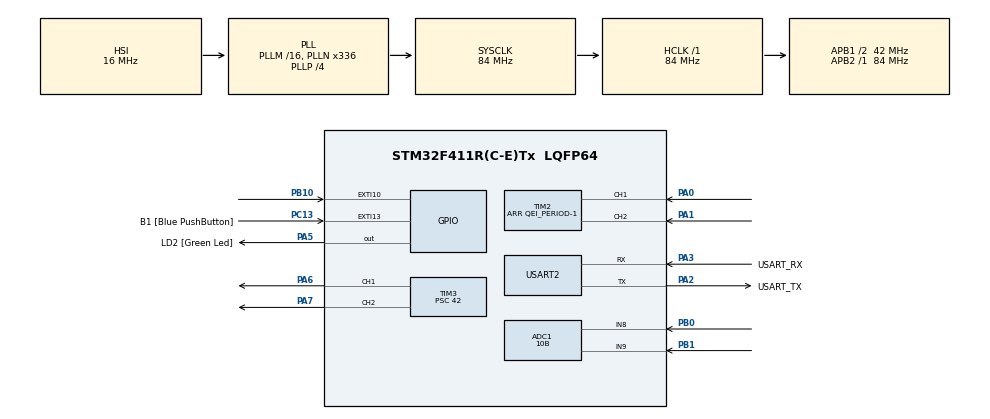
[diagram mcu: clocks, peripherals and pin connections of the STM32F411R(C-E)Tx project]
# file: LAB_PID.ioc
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ADC1.Channel-1\#ChannelRegularConversion=ADC_CHANNEL_8
ADC1.Channel-2\#ChannelRegularConversion=ADC_CHANNEL_9
ADC1.ContinuousConvMode=ENABLE
ADC1.DMAContinuousRequests=ENABLE
ADC1.DiscontinuousConvMode=DISABLE
ADC1.NbrOfConversion=2
ADC1.NbrOfConversionFlag=1
ADC1.Rank-1\#ChannelRegularConversion=1
ADC1.Rank-2\#ChannelRegularConversion=2
ADC1.Resolution=ADC_RESOLUTION_10B
ADC1.SamplingTime-1\#ChannelRegularConversion=ADC_SAMPLETIME_3CYCLES
ADC1.SamplingTime-2\#ChannelRegularConversion=ADC_SAMPLETIME_3CYCLES
ADC1.ScanConvMode=ENABLE
ADC1.master=1
ARM.CMSIS.5.6.0.CMSISJjCORE=true
ARM.CMSIS.5.6.0.CMSISJjDSP=Library
Dma.ADC1.0.Direction=DMA_PERIPH_TO_MEMORY
Dma.ADC1.0.FIFOMode=DMA_FIFOMODE_DISABLE
Dma.ADC1.0.Instance=DMA2_Stream0
Dma.ADC1.0.MemDataAlignment=DMA_MDATAALIGN_WORD
Dma.ADC1.0.MemInc=DMA_MINC_ENABLE
Dma.ADC1.0.Mode=DMA_CIRCULAR
Dma.ADC1.0.PeriphDataAlignment=DMA_PDATAALIGN_WORD
Dma.ADC1.0.PeriphInc=DMA_PINC_DISABLE
Dma.ADC1.0.Priority=DMA_PRIORITY_LOW
Dma.Request0=ADC1
Mcu.Family=STM32F4
Mcu.Name=STM32F411R(C-E)Tx
Mcu.Package=LQFP64
Mcu.UserConstants=QEI_PERIOD,40960
NVIC.ADC_IRQn=true\:0\:0\:false\:false\:true\:true\:true\:true
NVIC.DMA2_Stream0_IRQn=true\:0\:0\:false\:false\:true\:false\:true\:true
NVIC.EXTI15_10_IRQn=true\:0\:0\:false\:false\:true\:true\:true\:true
NVIC.PriorityGroup=NVIC_PRIORITYGROUP_0
PA0-WKUP.Signal=S_TIM2_CH1_ETR
PA1.Signal=S_TIM2_CH2
PA13.GPIO_Label=TMS
PA13.Mode=Trace_Asynchronous_SW
PA13.Signal=SYS_JTMS-SWDIO
PA14.GPIO_Label=TCK
PA14.Mode=Trace_Asynchronous_SW
PA14.Signal=SYS_JTCK-SWCLK
PA2.GPIO_Label=USART_TX
PA2.Mode=Asynchronous
PA2.Signal=USART2_TX
PA3.GPIO_Label=USART_RX
PA3.Mode=Asynchronous
PA3.Signal=USART2_RX
PA5.GPIO_Label=LD2 [Green Led]
PA5.Signal=GPIO_Output
PA6.Signal=S_TIM3_CH1
PA7.Signal=S_TIM3_CH2
PB0.Signal=ADCx_IN8
PB1.Signal=ADCx_IN9
PB10.GPIO_ModeDefaultEXTI=GPIO_MODE_IT_RISING
PB10.Signal=GPXTI10
PB3.GPIO_Label=SWO
PB3.Mode=Trace_Asynchronous_SW
PB3.Signal=SYS_JTDO-SWO
PC13-ANTI_TAMP.GPIO_Label=B1 [Blue PushButton]
PC13-ANTI_TAMP.GPIO_ModeDefaultEXTI=GPIO_MODE_IT_FALLING
PC13-ANTI_TAMP.Signal=GPXTI13
PC14-OSC32_IN.Mode=LSE-External-Oscillator
PC14-OSC32_IN.Signal=RCC_OSC32_IN
PC15-OSC32_OUT.Mode=LSE-External-Oscillator
PC15-OSC32_OUT.Signal=RCC_OSC32_OUT
PH0\ -\ OSC_IN.Mode=HSE-External-Clock-Source
PH0\ -\ OSC_IN.Signal=RCC_OSC_IN
PH1\ -\ OSC_OUT.Mode=HSE-External-Clock-Source
PH1\ -\ OSC_OUT.Signal=RCC_OSC_OUT
ProjectManager.HeapSize=0x200
ProjectManager.StackSize=0x400
ProjectManager.TargetToolchain=STM32CubeIDE
RCC.48MHZClocksFreq_Value=84000000
RCC.AHBFreq_Value=84000000
RCC.APB1CLKDivider=RCC_HCLK_DIV2
RCC.APB1Freq_Value=42000000
RCC.APB1TimFreq_Value=84000000
RCC.APB2Freq_Value=84000000
RCC.APB2TimFreq_Value=84000000
RCC.CortexFreq_Value=84000000
RCC.FLatency-AdvancedSettings=FLASH_LATENCY_2
RCC.HCLKFreq_Value=84000000
RCC.HSE_VALUE=8000000
RCC.HSI_VALUE=16000000
RCC.PLLN=336
RCC.PLLP=RCC_PLLP_DIV4
RCC.SYSCLKFreq_VALUE=84000000
RCC.SYSCLKSource=RCC_SYSCLKSOURCE_PLLCLK
RCC.VCOOutputFreq_Value=336000000
SH.ADCx_IN8.0=ADC1_IN8,IN8
SH.ADCx_IN9.0=ADC1_IN9,IN9
SH.S_TIM2_CH1_ETR.0=TIM2_CH1,Encoder_Interface
SH.S_TIM2_CH2.0=TIM2_CH2,Encoder_Interface
SH.S_TIM3_CH1.0=TIM3_CH1,PWM Generation1 CH1
SH.S_TIM3_CH2.0=TIM3_CH2,PWM Generation2 CH2
TIM2.EncoderMode=TIM_ENCODERMODE_TI12
TIM2.IC1Filter=0
TIM2.IC2Filter=0
TIM2.Period=QEI_PERIOD-1
TIM3.Channel-PWM\ Generation1\ CH1=TIM_CHANNEL_1
TIM3.Channel-PWM\ Generation2\ CH2=TIM_CHANNEL_2
TIM3.Period=99
TIM3.Prescaler=42
TIM5.Prescaler=83
USART2.VirtualMode=VM_ASYNC
VP_ARM.CMSIS_VS_CMSISJjCORE_5.3.0_5.6.0.Mode=CMSISJjCORE
VP_ARM.CMSIS_VS_CMSISJjDSP_1.7.0_5.6.0.Mode=CMSISJjDSP
VP_TIM3_VS_ClockSourceINT.Mode=Internal
VP_TIM5_VS_ClockSourceINT.Mode=Internal
board=NUCLEO-F411RE

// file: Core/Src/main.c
/* USER CODE BEGIN Header */
/**
  ******************************************************************************
  * @file           : main.c
  * @brief          : Main program body
  ******************************************************************************
  * @attention
  *
  * Copyright (c) 2023 STMicroelectronics.
  * All rights reserved.
  *
  * This software is licensed under terms that can be found in the LICENSE file
  * in the root directory of this software component.
  * If no LICENSE file comes with this software, it is provided AS-IS.
  *
  ******************************************************************************
  */
/* USER CODE END Header */
#include "main.h"

/* USER CODE BEGIN Includes */
#include "arm_math.h"
//Chayapol 6411
/* USER CODE END Includes */

/* USER CODE BEGIN PTD */
uint64_t micros();
void velocity();
/* USER CODE END PTD */

ADC_HandleTypeDef hadc1;
DMA_HandleTypeDef hdma_adc1;

TIM_HandleTypeDef htim2;
TIM_HandleTypeDef htim3;
TIM_HandleTypeDef htim5;

UART_HandleTypeDef huart2;

/* USER CODE BEGIN PV */

uint32_t QEIReadRaw;
uint32_t JoystckEnable;
uint32_t Position_Joystick[2];
typedef struct _QEIStructure{
uint32_t data[2]; //Position data container
uint32_t timestamp[2];

float QEIPosition; //step
float QEIVelocity //step/sec
}QEIStructureTypedef;
QEIStructureTypedef QEIData = {0};

uint64_t _micros = 0;

// PID variable
float pu1=0;
float pe1=0;
float pe2=0;
float u;
float delta_u;
const float K_P = 0.8;
const float K_I = 0.12;
const float K_D = 0.5;

uint32_t QEIReadRaw;
float ReadDegree; // Encoder value
float SetDegree; // Set point
float DegreeFeedback; // Feedback position
float error; // error

/* USER CODE END PV */

void SystemClock_Config(void);
static void MX_GPIO_Init(void);
static void MX_DMA_Init(void);
static void MX_USART2_UART_Init(void);
static void MX_TIM2_Init(void);
static void MX_TIM3_Init(void);
static void MX_TIM5_Init(void);
static void MX_ADC1_Init(void);
/* USER CODE BEGIN PFP */
float control_interrupt();
/* USER CODE END PFP */

int main(void)
{

  /* MCU Configuration--------------------------------------------------------*/

  /* Reset of all peripherals, Initializes the Flash interface and the Systick. */
  HAL_Init();

  /* Configure the system clock */
  SystemClock_Config();

  /* Initialize all configured peripherals */
  MX_GPIO_Init();
  MX_DMA_Init();
  MX_USART2_UART_Init();
  MX_TIM2_Init();
  MX_TIM3_Init();
  MX_TIM5_Init();
  MX_ADC1_Init();
  /* USER CODE BEGIN 2 */
	HAL_TIM_Encoder_Start(&htim2, TIM_CHANNEL_1|TIM_CHANNEL_2);
	HAL_TIM_PWM_Start(&htim3, TIM_CHANNEL_1);
	HAL_TIM_PWM_Start(&htim3, TIM_CHANNEL_2);
	HAL_TIM_Base_Start(&htim5);
	HAL_ADC_Start_DMA(&hadc1, Position_Joystick, 2);
  /* USER CODE END 2 */

  /* Infinite loop */
  while (1)
  {

    /* USER CODE BEGIN 3 */
	  //PID control position
	  static uint64_t timestamp = 0;
	  static uint64_t motortime = 0;
	  uint64_t current_time = micros();
	  if(current_time >= timestamp){
			  timestamp = current_time + 1000;
			  velocity(); // velocity
		if(JoystckEnable == 0){
			  if(SetDegree < 0)SetDegree = 0; // minimum value
			  if(SetDegree > 1800)SetDegree = 1800; // maximum value
			  QEIReadRaw = __HAL_TIM_GET_COUNTER(&htim2); // Read QEI
			  ReadDegree = QEIReadRaw/8192.0 * 360; // pluse to degree
			  error = SetDegree - ReadDegree;
			  DegreeFeedback = control_interrupt(); // PID function
			 if(error > 0){ //setpoint > read_encoder
				 if(error < 1.0)DegreeFeedback = 0; //Limit Position
				 __HAL_TIM_SET_COMPARE(&htim3,TIM_CHANNEL_1,0);
				 __HAL_TIM_SET_COMPARE(&htim3,TIM_CHANNEL_2,DegreeFeedback);
			 }
			 if(error < 0){ //setpoint < read_encoder
				 if(error*-1 < 1.0)DegreeFeedback = 0; //Limit Position
				 __HAL_TIM_SET_COMPARE(&htim3,TIM_CHANNEL_1,DegreeFeedback*-1);
				 __HAL_TIM_SET_COMPARE(&htim3,TIM_CHANNEL_2,100);
			 }
		}
		else if(JoystckEnable == 1){
			if(Position_Joystick[0] < 100){
				__HAL_TIM_SET_COMPARE(&htim3,TIM_CHANNEL_1,100*-1);
				__HAL_TIM_SET_COMPARE(&htim3,TIM_CHANNEL_2,100);
			}
			if(Position_Joystick[0] > 800){
				__HAL_TIM_SET_COMPARE(&htim3,TIM_CHANNEL_1,0);
				__HAL_TIM_SET_COMPARE(&htim3,TIM_CHANNEL_2,100);
			}
			if(Position_Joystick[0] > 680 && Position_Joystick[0] < 730){
				__HAL_TIM_SET_COMPARE(&htim3,TIM_CHANNEL_1,0);
				__HAL_TIM_SET_COMPARE(&htim3,TIM_CHANNEL_2,0);
			}
		}
	 }
  }
  /* USER CODE END 3 */
}

void SystemClock_Config(void)
{
  RCC_OscInitTypeDef RCC_OscInitStruct = {0};
  RCC_ClkInitTypeDef RCC_ClkInitStruct = {0};

  /** Configure the main internal regulator output voltage
  */
  __HAL_RCC_PWR_CLK_ENABLE();
  __HAL_PWR_VOLTAGESCALING_CONFIG(PWR_REGULATOR_VOLTAGE_SCALE1);

  /** Initializes the RCC Oscillators according to the specified parameters
  * in the RCC_OscInitTypeDef structure.
  */
  RCC_OscInitStruct.OscillatorType = RCC_OSCILLATORTYPE_HSI;
  RCC_OscInitStruct.HSIState = RCC_HSI_ON;
  RCC_OscInitStruct.HSICalibrationValue = RCC_HSICALIBRATION_DEFAULT;
  RCC_OscInitStruct.PLL.PLLState = RCC_PLL_ON;
  RCC_OscInitStruct.PLL.PLLSource = RCC_PLLSOURCE_HSI;
  RCC_OscInitStruct.PLL.PLLM = 16;
  RCC_OscInitStruct.PLL.PLLN = 336;
  RCC_OscInitStruct.PLL.PLLP = RCC_PLLP_DIV4;
  RCC_OscInitStruct.PLL.PLLQ = 4;
  if (HAL_RCC_OscConfig(&RCC_OscInitStruct) != HAL_OK)
  {
    Error_Handler();
  }

  /** Initializes the CPU, AHB and APB buses clocks
  */
  RCC_ClkInitStruct.ClockType = RCC_CLOCKTYPE_HCLK|RCC_CLOCKTYPE_SYSCLK
                              |RCC_CLOCKTYPE_PCLK1|RCC_CLOCKTYPE_PCLK2;
  RCC_ClkInitStruct.SYSCLKSource = RCC_SYSCLKSOURCE_PLLCLK;
  RCC_ClkInitStruct.AHBCLKDivider = RCC_SYSCLK_DIV1;
  RCC_ClkInitStruct.APB1CLKDivider = RCC_HCLK_DIV2;
  RCC_ClkInitStruct.APB2CLKDivider = RCC_HCLK_DIV1;

  if (HAL_RCC_ClockConfig(&RCC_ClkInitStruct, FLASH_LATENCY_2) != HAL_OK)
  {
    Error_Handler();
  }
}

static void MX_ADC1_Init(void)
{

  ADC_ChannelConfTypeDef sConfig = {0};

  /** Configure the global features of the ADC (Clock, Resolution, Data Alignment and number of conversion)
  */
  hadc1.Instance = ADC1;
  hadc1.Init.ClockPrescaler = ADC_CLOCK_SYNC_PCLK_DIV4;
  hadc1.Init.Resolution = ADC_RESOLUTION_10B;
  hadc1.Init.ScanConvMode = ENABLE;
  hadc1.Init.ContinuousConvMode = ENABLE;
  hadc1.Init.DiscontinuousConvMode = DISABLE;
  hadc1.Init.ExternalTrigConvEdge = ADC_EXTERNALTRIGCONVEDGE_NONE;
  hadc1.Init.ExternalTrigConv = ADC_SOFTWARE_START;
  hadc1.Init.DataAlign = ADC_DATAALIGN_RIGHT;
  hadc1.Init.NbrOfConversion = 2;
  hadc1.Init.DMAContinuousRequests = ENABLE;
  hadc1.Init.EOCSelection = ADC_EOC_SINGLE_CONV;
  if (HAL_ADC_Init(&hadc1) != HAL_OK)
  {
    Error_Handler();
  }

  /** Configure for the selected ADC regular channel its corresponding rank in the sequencer and its sample time.
  */
  sConfig.Channel = ADC_CHANNEL_8;
  sConfig.Rank = 1;
  sConfig.SamplingTime = ADC_SAMPLETIME_3CYCLES;
  if (HAL_ADC_ConfigChannel(&hadc1, &sConfig) != HAL_OK)
  {
    Error_Handler();
  }

  /** Configure for the selected ADC regular channel its corresponding rank in the sequencer and its sample time.
  */
  sConfig.Channel = ADC_CHANNEL_9;
  sConfig.Rank = 2;
  if (HAL_ADC_ConfigChannel(&hadc1, &sConfig) != HAL_OK)
  {
    Error_Handler();
  }

}

static void MX_TIM2_Init(void)
{

  TIM_Encoder_InitTypeDef sConfig = {0};
  TIM_MasterConfigTypeDef sMasterConfig = {0};

  htim2.Instance = TIM2;
  htim2.Init.Prescaler = 0;
  htim2.Init.CounterMode = TIM_COUNTERMODE_UP;
  htim2.Init.Period = QEI_PERIOD-1;
  htim2.Init.ClockDivision = TIM_CLOCKDIVISION_DIV1;
  htim2.Init.AutoReloadPreload = TIM_AUTORELOAD_PRELOAD_DISABLE;
  sConfig.EncoderMode = TIM_ENCODERMODE_TI12;
  sConfig.IC1Polarity = TIM_ICPOLARITY_RISING;
  sConfig.IC1Selection = TIM_ICSELECTION_DIRECTTI;
  sConfig.IC1Prescaler = TIM_ICPSC_DIV1;
  sConfig.IC1Filter = 0;
  sConfig.IC2Polarity = TIM_ICPOLARITY_RISING;
  sConfig.IC2Selection = TIM_ICSELECTION_DIRECTTI;
  sConfig.IC2Prescaler = TIM_ICPSC_DIV1;
  sConfig.IC2Filter = 0;
  if (HAL_TIM_Encoder_Init(&htim2, &sConfig) != HAL_OK)
  {
    Error_Handler();
  }
  sMasterConfig.MasterOutputTrigger = TIM_TRGO_RESET;
  sMasterConfig.MasterSlaveMode = TIM_MASTERSLAVEMODE_DISABLE;
  if (HAL_TIMEx_MasterConfigSynchronization(&htim2, &sMasterConfig) != HAL_OK)
  {
    Error_Handler();
  }

}

static void MX_TIM3_Init(void)
{

  TIM_ClockConfigTypeDef sClockSourceConfig = {0};
  TIM_MasterConfigTypeDef sMasterConfig = {0};
  TIM_OC_InitTypeDef sConfigOC = {0};

  htim3.Instance = TIM3;
  htim3.Init.Prescaler = 42;
  htim3.Init.CounterMode = TIM_COUNTERMODE_UP;
  htim3.Init.Period = 99;
  htim3.Init.ClockDivision = TIM_CLOCKDIVISION_DIV1;
  htim3.Init.AutoReloadPreload = TIM_AUTORELOAD_PRELOAD_DISABLE;
  if (HAL_TIM_Base_Init(&htim3) != HAL_OK)
  {
    Error_Handler();
  }
  sClockSourceConfig.ClockSource = TIM_CLOCKSOURCE_INTERNAL;
  if (HAL_TIM_ConfigClockSource(&htim3, &sClockSourceConfig) != HAL_OK)
  {
    Error_Handler();
  }
  if (HAL_TIM_PWM_Init(&htim3) != HAL_OK)
  {
    Error_Handler();
  }
  sMasterConfig.MasterOutputTrigger = TIM_TRGO_RESET;
  sMasterConfig.MasterSlaveMode = TIM_MASTERSLAVEMODE_DISABLE;
  if (HAL_TIMEx_MasterConfigSynchronization(&htim3, &sMasterConfig) != HAL_OK)
  {
    Error_Handler();
  }
  sConfigOC.OCMode = TIM_OCMODE_PWM1;
  sConfigOC.Pulse = 0;
  sConfigOC.OCPolarity = TIM_OCPOLARITY_HIGH;
  sConfigOC.OCFastMode = TIM_OCFAST_DISABLE;
  if (HAL_TIM_PWM_ConfigChannel(&htim3, &sConfigOC, TIM_CHANNEL_1) != HAL_OK)
  {
    Error_Handler();
  }
  if (HAL_TIM_PWM_ConfigChannel(&htim3, &sConfigOC, TIM_CHANNEL_2) != HAL_OK)
  {
    Error_Handler();
  }
  HAL_TIM_MspPostInit(&htim3);

}

static void MX_TIM5_Init(void)
{

  TIM_ClockConfigTypeDef sClockSourceConfig = {0};
  TIM_MasterConfigTypeDef sMasterConfig = {0};

  htim5.Instance = TIM5;
  htim5.Init.Prescaler = 83;
  htim5.Init.CounterMode = TIM_COUNTERMODE_UP;
  htim5.Init.Period = 4294967295;
  htim5.Init.ClockDivision = TIM_CLOCKDIVISION_DIV1;
  htim5.Init.AutoReloadPreload = TIM_AUTORELOAD_PRELOAD_DISABLE;
  if (HAL_TIM_Base_Init(&htim5) != HAL_OK)
  {
    Error_Handler();
  }
  sClockSourceConfig.ClockSource = TIM_CLOCKSOURCE_INTERNAL;
  if (HAL_TIM_ConfigClockSource(&htim5, &sClockSourceConfig) != HAL_OK)
  {
    Error_Handler();
  }
  sMasterConfig.MasterOutputTrigger = TIM_TRGO_RESET;
  sMasterConfig.MasterSlaveMode = TIM_MASTERSLAVEMODE_DISABLE;
  if (HAL_TIMEx_MasterConfigSynchronization(&htim5, &sMasterConfig) != HAL_OK)
  {
    Error_Handler();
  }

}

static void MX_USART2_UART_Init(void)
{

  huart2.Instance = USART2;
  huart2.Init.BaudRate = 115200;
  huart2.Init.WordLength = UART_WORDLENGTH_8B;
  huart2.Init.StopBits = UART_STOPBITS_1;
  huart2.Init.Parity = UART_PARITY_NONE;
  huart2.Init.Mode = UART_MODE_TX_RX;
  huart2.Init.HwFlowCtl = UART_HWCONTROL_NONE;
  huart2.Init.OverSampling = UART_OVERSAMPLING_16;
  if (HAL_UART_Init(&huart2) != HAL_OK)
  {
    Error_Handler();
  }

}

static void MX_DMA_Init(void)
{

  /* DMA controller clock enable */
  __HAL_RCC_DMA2_CLK_ENABLE();

  /* DMA interrupt init */
  /* DMA2_Stream0_IRQn interrupt configuration */
  HAL_NVIC_SetPriority(DMA2_Stream0_IRQn, 0, 0);
  HAL_NVIC_EnableIRQ(DMA2_Stream0_IRQn);

}

static void MX_GPIO_Init(void)
{
  GPIO_InitTypeDef GPIO_InitStruct = {0};

  /* GPIO Ports Clock Enable */
  __HAL_RCC_GPIOC_CLK_ENABLE();
  __HAL_RCC_GPIOH_CLK_ENABLE();
  __HAL_RCC_GPIOA_CLK_ENABLE();
  __HAL_RCC_GPIOB_CLK_ENABLE();

  /*Configure GPIO pin Output Level */
  HAL_GPIO_WritePin(LD2_GPIO_Port, LD2_Pin, GPIO_PIN_RESET);

  /*Configure GPIO pin : B1_Pin */
  GPIO_InitStruct.Pin = B1_Pin;
  GPIO_InitStruct.Mode = GPIO_MODE_IT_FALLING;
  GPIO_InitStruct.Pull = GPIO_NOPULL;
  HAL_GPIO_Init(B1_GPIO_Port, &GPIO_InitStruct);

  /*Configure GPIO pin : LD2_Pin */
  GPIO_InitStruct.Pin = LD2_Pin;
  GPIO_InitStruct.Mode = GPIO_MODE_OUTPUT_PP;
  GPIO_InitStruct.Pull = GPIO_NOPULL;
  GPIO_InitStruct.Speed = GPIO_SPEED_FREQ_LOW;
  HAL_GPIO_Init(LD2_GPIO_Port, &GPIO_InitStruct);

  /*Configure GPIO pin : PB10 */
  GPIO_InitStruct.Pin = GPIO_PIN_10;
  GPIO_InitStruct.Mode = GPIO_MODE_IT_RISING;
  GPIO_InitStruct.Pull = GPIO_NOPULL;
  HAL_GPIO_Init(GPIOB, &GPIO_InitStruct);

  /* EXTI interrupt init*/
  HAL_NVIC_SetPriority(EXTI15_10_IRQn, 0, 0);
  HAL_NVIC_EnableIRQ(EXTI15_10_IRQn);

}

/* USER CODE BEGIN 4 */
float control_interrupt(){
	error = SetDegree - ReadDegree;
	delta_u = (K_P+K_I+K_D)*error-(K_P+2*K_D)*pe1+(K_D)*pe2;
	u = pu1+delta_u;
	if(u>100)u=100;
	if(u<-100)u=-100;
	pu1=u;
	pe2=pe1;
	pe1=error;
return u;
}
void velocity(){
	QEIData.data[0] = __HAL_TIM_GET_COUNTER(&htim2);
	QEIData.timestamp[0] = micros();

	int32_t diffposition = QEIData.data[0] - QEIData.data[1];
	float difftime = QEIData.timestamp[0] - QEIData.timestamp[1];

	if(diffposition > QEI_PERIOD >> 1) diffposition -= QEI_PERIOD;
	if(diffposition < -(QEI_PERIOD >> 1)) diffposition += QEI_PERIOD;

	QEIData.QEIPosition = __HAL_TIM_GET_COUNTER(&htim3) % 8191;
	QEIData.QEIVelocity = diffposition*1000000/difftime;

	QEIData.data[1] = QEIData.data[0];
	QEIData.timestamp[1] = QEIData.timestamp[0];

}
void HAL_TIM_PeriodElapsedCallback(TIM_HandleTypeDef *htim)
{
	if(htim == &htim5){
		_micros += UINT32_MAX;

	}
}
uint64_t micros(){
	return __HAL_TIM_GET_COUNTER(&htim5) +_micros;
}
void HAL_GPIO_EXTI_Callback(uint16_t GPIO_Pin)
{
	if(GPIO_Pin == GPIO_PIN_13){
		//HAL_GPIO_TogglePin(GPIOA, GPIO_PIN_5);
		JoystckEnable += 1;
		if(JoystckEnable == 0)JoystckEnable = 1;
		else if(JoystckEnable ==1)JoystckEnable = 0;
	}

}
/* USER CODE END 4 */

void Error_Handler(void)
{
  __disable_irq();
  while (1)
  {
  }
}
